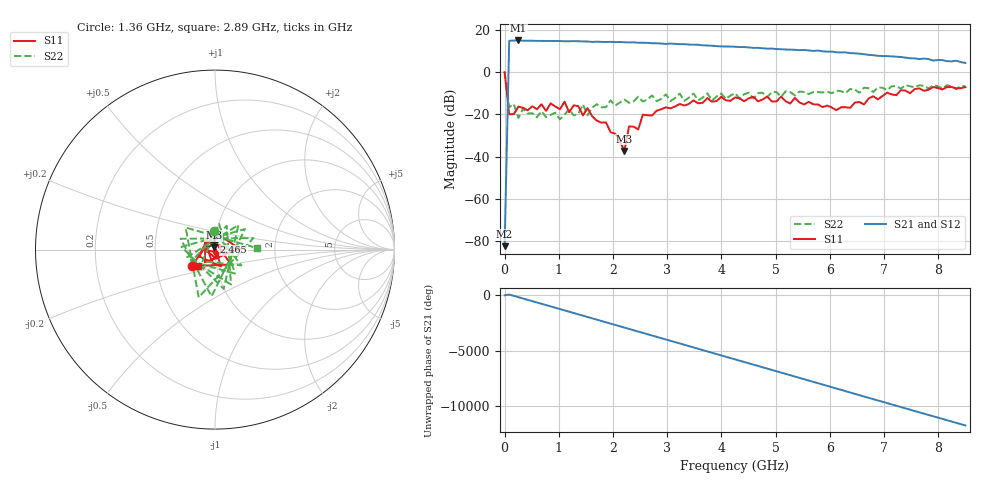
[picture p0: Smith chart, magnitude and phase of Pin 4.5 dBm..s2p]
! RsaToolbox (C) 2013 Rohde & Schwarz America
! Number of points: 101
! Number of ports: 2
! Balanced ports?: 0
# Hz S RI R 50
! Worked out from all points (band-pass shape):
!   101 points, 9 kHz to 8.5 GHz, reference 50 ohm
!   highest |S21| = 14.92 dB at 255 MHz (marker M1); lowest = -82.3 dB at 9 kHz (marker M2)
!   |S21| within 3 dB of the highest: 82.49 MHz to 4.26 GHz (4.177 GHz wide, 192 % of centre)
!   lowest |S11| = -37.3 dB at 2.21 GHz (marker M3), VSWR 1.03, Z = 49.3 + j1.17 ohm
!   |S11| at or under -10 dB: 42.4 MHz to 7.042 GHz (6.999 GHz wide, 198 % of centre); 7.081 GHz to 7.259 GHz (178 MHz wide, 2.48 % of centre); 7.476192 GHz to 7.482372 GHz (6.18 MHz wide, 0.0826 % of centre)
!   |S22| runs from -22.3 to 0.0 dB; largest |S21 - S12| = 0
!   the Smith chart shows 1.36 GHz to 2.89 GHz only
!   S11 on the Smith chart (normalised r, x): 1.36 GHz: 0.76, -0.14; 2.465 GHz: 0.98, +0.09; 2.89 GHz: 0.81, -0.15
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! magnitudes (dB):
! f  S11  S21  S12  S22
! 9 kHz  -0.1  -82.3  -82.3  0.0
! 85.01 MHz  -20.0  14.8  14.8  -16.6
! 170 MHz  -19.9  14.9  14.9  -15.2
! 255 MHz  -16.3  14.9  14.9  -21.7
! 340 MHz  -16.9  14.8  14.8  -17.2
! 595 MHz  -17.6  14.7  14.7  -21.4
! 680 MHz  -15.2  14.7  14.7  -18.5
! 1.36 GHz  -16.1  14.6  14.6  -19.8
! 1.445 GHz  -20.5  14.5  14.5  -15.3
! 1.53 GHz  -17.1  14.4  14.4  -20.4
! 1.7 GHz  -22.9  14.3  14.3  -15.2
! 1.87 GHz  -23.8  14.2  14.2  -16.6
! 2.21 GHz  -37.3  14.1  14.1  -13.0
! 2.295 GHz  -25.7  14.0  14.0  -14.5
! 2.465 GHz  -27.1  13.8  13.8  -11.7
! 2.55 GHz  -20.1  13.8  13.8  -13.9
! 2.89 GHz  -17.6  13.5  13.5  -12.7
! 4.25 GHz  -12.0  11.9  11.9  -9.9
! 5.695 GHz  -15.2  10.0  10.0  -9.5
! 6.12 GHz  -18.0  9.3  9.3  -8.8
! 7.14 GHz  -10.6  7.4  7.4  -6.8
! 8.5 GHz  -7.1  4.3  4.3  -6.7
